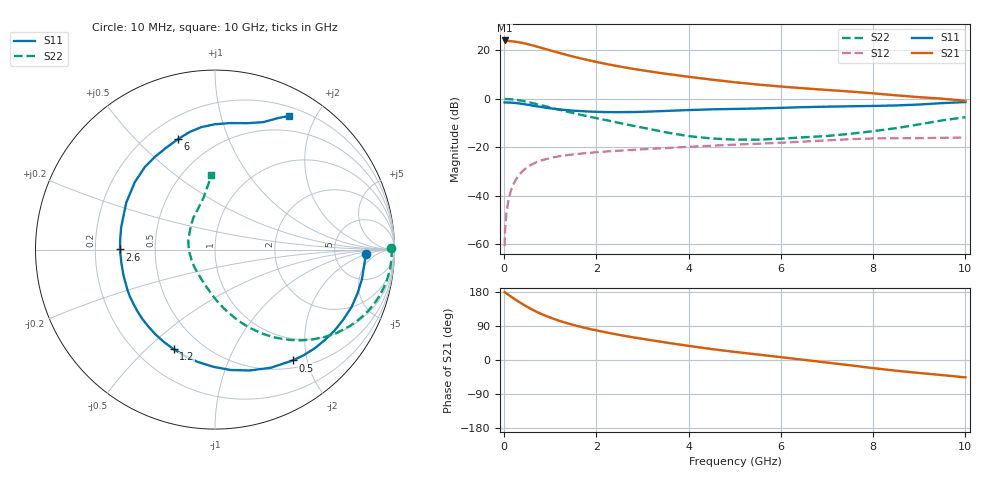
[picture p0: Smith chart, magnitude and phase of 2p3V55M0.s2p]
! (c) 2009  Infineon Technologies AG, Munich
! Infineon Technologies  Discrete & RF Semiconductors
! BFP420
! VCE =  3.5 V,  IC =  5.0 mA
! Common Emitter S-Parameters:  Nov 2009
# GHz  S  MA  R  50
!  f  S11  S21  S12  S22
! GHz  MAG  ANG  MAG  ANG  MAG  ANG  MAG  ANG
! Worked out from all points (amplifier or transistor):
!   46 points, 10 MHz to 10 GHz, reference 50 ohm
!   highest |S21| = 24.1 dB at 10 MHz (marker M1)
!   |S21| within 3 dB of that: start of sweep to 796.7 MHz
!   unconditionally stable (mu >= 1): 3.026 GHz to end of sweep
!   at 300 MHz: K = 0.12, MSG = 27.7 dB, |S12| = -32.1 dB
!   at 1.7 GHz: K = 0.59, MSG = 19.5 dB, |S12| = -22.6 dB
!   at 10 GHz: K = 1.12, MAG = 5.4 dB, |S12| = -16.0 dB
!   lowest NFmin = 0.66 dB at 900 MHz
!   S11 on the Smith chart (normalised r, x): 10 MHz: 11, -2; 500 MHz: 0.61, -1.76; 1.2 GHz: 0.35, -0.61; 2.6 GHz: 0.31, +0.00; 6 GHz: 0.32, +0.67; 10 GHz: 0.30, +1.66
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0.01  0.8393 -1.5  16 179.0  0.0009 53.5  0.982 0.4
0.02  0.8395 -2.7  15.56 178.3  0.0019 71.2  0.9849 -1.2
0.1  0.8351 -11.5  15.57 171.4  0.0087 80.8  0.9814 -6.4
0.2  0.8253 -22.8  15.27 163.1  0.017 76.9  0.9638 -12.7
0.25  0.8147 -28.4  15.01 158.9  0.0211 74.3  0.9516 -15.8
0.35  0.7929 -39.4  14.51 151.2  0.0285 69.2  0.9202 -21.7
0.5  0.7547 -54.9  13.5 140.3  0.0384 62.2  0.8623 -29.7
0.6  0.7281 -64.7  12.78 133.6  0.0439 58.0  0.8203 -34.6
0.8  0.6768 -82.5  11.3 121.8  0.0528 50.9  0.7362 -42.9
1  0.6338 -98.5  9.981 111.9  0.0596 45.3  0.6584 -49.9
1.2  0.6008 -112.6  8.822 103.3  0.0648 40.9  0.5903 -55.9
1.4  0.5773 -125.1  7.842 95.9  0.069 37.5  0.5317 -61.1
1.7  0.552 -141.5  6.675 86.4  0.0741 33.5  0.4577 -67.8
2.2  0.5296 -164.3  5.261 73.1  0.0811 28.7  0.363 -77.5
2.6  0.5294 179.9  4.467 63.9  0.0858 25.7  0.302 -85.4
3.5  0.5594 152.2  3.286 46.2  0.0957 20.5  0.2029 -106.3
4.5  0.6039 130.3  2.482 28.8  0.1071 15.1  0.1509 -139.5
5.5  0.6296 115.5  1.964 14.4  0.1176 10.1  0.1428 -172.2
6  0.6487 108.6  1.787 7.5  0.1234 7.7  0.1493 171.9
7  0.6864 96.4  1.519 -6.8  0.138 1.7  0.1701 146.6
8.5  0.7268 75.7  1.175 -28.3  0.1528 -11.9  0.2468 112.4
10  0.8529 60.9  0.908 -45.8  0.1588 -20.8  0.4156 92.8
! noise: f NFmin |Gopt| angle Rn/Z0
0.9  0.66  0.21  31  0.15
1.8  1.05  0.09  93  0.13
2.4  1.14  0.14  119  0.13
3  1.24  0.17  165  0.11
4  1.41  0.31  -145  0.12
5  1.85  0.38  -119  0.21
6  2.3  0.45  -101  0.36
